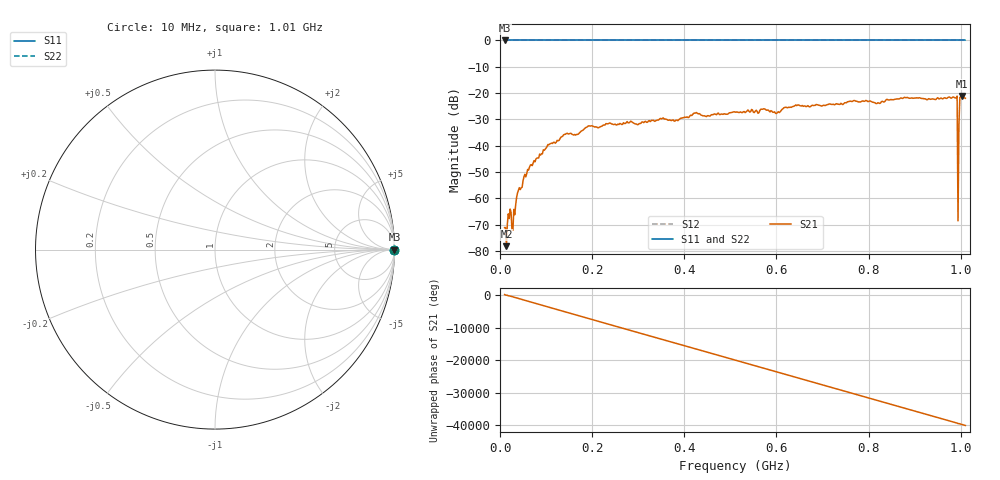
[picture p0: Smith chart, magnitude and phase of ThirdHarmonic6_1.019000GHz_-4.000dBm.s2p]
! 8/16/2025 8:30:42 AM
! C:\ANRITSUVNA\TEMP\TEMP.S2P
! CHANNEL.1
! TR.MEASUREMENT
! RAW.DATA
! RF.CORRECTION.OFF
! AVERAGING.OFF
! IF.BANDWIDTH: 5KHZ
! SWEEPTYPE:  FREQ.SWEEP(Linear)
! Reference Plane Port Info
! PORT:  PORT1  PORT2
! DISTANCE:  0  m  0  m
! TIME:  0  s  0  s
! PHASE.OFFSET:  0  deg.  0  deg.
! LOSS:  0  dB  0  dB
! REF.LOSS:  0  dB  0  dB
! REF.FREQ:  0  Hz  0  Hz
! Power Info
! POWER:  -20  dBm  -20  dBm
! EFF.POWER:  -20  dBm  -20  dBm
! SOURCE.ATTEN:  0  dB  0  dB
! TEST.ATTEN:  0  dB  0  dB
# GHZ S RI R 50.0
! FREQ.GHZ  S11RE  S11IM  S21RE  S21IM  S12RE  S12IM  S22RE  S22IM
!; PortSelection: Port_12
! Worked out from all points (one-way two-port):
!   501 points, 10 MHz to 1.01 GHz, reference 50 ohm
!   highest |S21| = -21.10 dB at 1.002 GHz (marker M1); lowest = -78.2 dB at 14 MHz (marker M2)
!   lowest |S11| = 0.0 dB at 10 MHz (marker M3)
!   |S11| at or under -10 dB: nowhere
!   |S22| runs from 0.0 to 0.0 dB; largest |S21 - S12| = 1.1
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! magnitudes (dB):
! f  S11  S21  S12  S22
! 10 MHz  0.0  -71.1  0.0  0.0
! 14 MHz  0.0  -78.2  0.0  0.0
! 20 MHz  0.0  -67.7  0.0  0.0
! 24 MHz  0.0  -65.3  0.0  0.0
! 30 MHz  0.0  -64.2  0.0  0.0
! 40 MHz  0.0  -56.9  0.0  0.0
! 64 MHz  0.0  -48.2  0.0  0.0
! 108 MHz  0.0  -39.4  0.0  0.0
! 178 MHz  0.0  -34.3  0.0  0.0
! 196 MHz  0.0  -32.6  0.0  0.0
! 344 MHz  0.0  -30.3  0.0  0.0
! 510 MHz  0.0  -27.2  0.0  0.0
! 602 MHz  0.0  -27.4  0.0  0.0
! 678 MHz  0.0  -24.6  0.0  0.0
! 844 MHz  0.0  -22.6  0.0  0.0
! 988 MHz  0.0  -21.9  0.0  0.0
! 990 MHz  0.0  -21.8  0.0  0.0
! 992 MHz  0.0  -21.2  0.0  0.0
! 998 MHz  0.0  -21.6  0.0  0.0
! 1 GHz  0.0  -21.5  0.0  0.0
! 1.002 GHz  0.0  -21.1  0.0  0.0
! 1.01 GHz  0.0  -22.0  0.0  0.0
